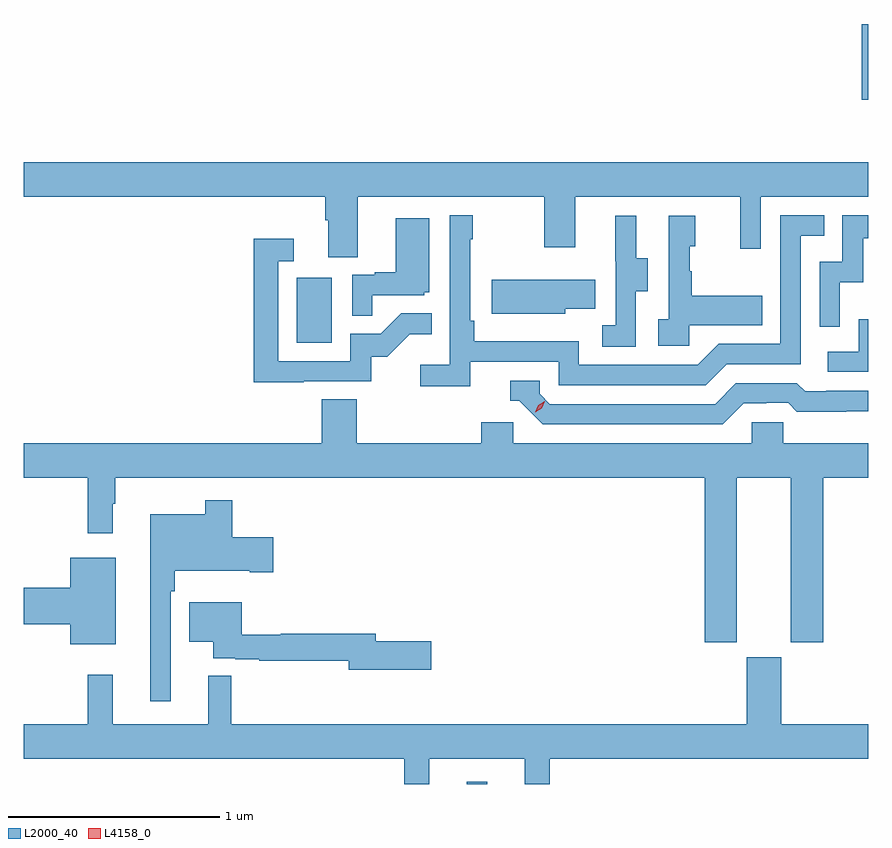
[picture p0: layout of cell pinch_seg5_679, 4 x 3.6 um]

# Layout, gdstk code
import gdstk
lib = gdstk.Library(unit=1e-6, precision=1e-09)
def R(c, l, rs):  # rectangles x0, y0, x1, y1
    for r in rs: c.add(gdstk.rectangle(r[:2], r[2:], *l))
def P(c, l, *ps):  # polygons
    for p in ps: c.add(gdstk.Polygon(p, *l))
L2000_40 = (2000, 40)
L4158_0 = (4158, 0)

pinch_seg5_679 = lib.new_cell('pinch_seg5_679')
R(pinch_seg5_679, L2000_40, [(1129.827,835.329,1129.924,835.339), (1129.022,837.42,1129.186,837.727), (1131.698,838.57,1131.728,838.93)])
P(pinch_seg5_679, L2000_40, [(1129.309,838.112),(1130.194,838.112),(1130.194,837.873),(1130.341,837.873),(1130.341,838.112),(1131.122,838.112),(1131.122,837.864),(1131.219,837.864),(1131.219,838.112),(1131.728,838.112),(1131.728,838.276),(1127.728,838.276),(1127.728,838.112),(1129.157,838.112),(1129.157,838),(1129.169,838),(1129.169,837.826),(1129.309,837.826)],
  [(1129.844,837.33),(1130.262,837.33),(1130.262,837.219),(1130.959,837.219),(1131.058,837.318),(1131.408,837.318),(1131.408,837.927),(1131.521,837.927),(1131.521,838.023),(1131.312,838.023),(1131.312,837.414),(1131.021,837.414),(1130.922,837.315),(1130.358,837.315),(1130.358,837.427),(1129.862,837.427),(1129.862,837.523),(1129.842,837.523),(1129.842,837.911),(1129.855,837.911),(1129.855,838.024),(1129.746,838.024),(1129.746,837.316),(1129.605,837.316),(1129.605,837.214),(1129.844,837.214)],
  [(1131.594,837.707),(1131.704,837.707),(1131.704,837.915),(1131.728,837.915),(1131.728,838.023),(1131.606,838.023),(1131.606,837.804),(1131.498,837.804),(1131.498,837.495),(1131.594,837.495)],
  [(1130.88,837.503),(1131.227,837.503),(1131.227,837.643),(1130.893,837.643),(1130.893,837.758),(1130.883,837.758),(1130.883,837.876),(1130.908,837.876),(1130.908,838.021),(1130.784,838.021),(1130.784,837.53),(1130.733,837.53),(1130.733,837.405),(1130.88,837.405)],
  [(1130.628,837.664),(1130.683,837.664),(1130.683,837.819),(1130.629,837.819),(1130.629,838.021),(1130.531,838.021),(1130.531,837.807),(1130.532,837.807),(1130.532,837.503),(1130.469,837.503),(1130.469,837.4),(1130.628,837.4)],
  [(1129.379,837.645),(1129.626,837.645),(1129.626,837.66),(1129.648,837.66),(1129.648,838.009),(1129.49,838.009),(1129.49,837.754),(1129.391,837.754),(1129.391,837.741),(1129.284,837.741),(1129.284,837.547),(1129.379,837.547)],
  [(1129.055,837.237),(1129.374,837.237),(1129.374,837.354),(1129.45,837.354),(1129.557,837.461),(1129.661,837.461),(1129.661,837.56),(1129.517,837.56),(1129.419,837.462),(1129.275,837.462),(1129.275,837.333),(1128.933,837.333),(1128.933,837.807),(1129.006,837.807),(1129.006,837.913),(1128.817,837.913),(1128.817,837.232),(1129.055,837.232)],
  [(1130.292,837.581),(1130.435,837.581),(1130.435,837.718),(1129.944,837.718),(1129.944,837.557),(1130.292,837.557)],
  [(1131.728,837.532),(1131.684,837.532),(1131.684,837.378),(1131.537,837.378),(1131.537,837.282),(1131.728,837.282)],
  [(1131.139,837.132),(1131.246,837.132),(1131.246,837.135),(1131.349,837.135),(1131.391,837.093),(1131.624,837.093),(1131.624,837.095),(1131.728,837.095),(1131.728,837.192),(1131.529,837.192),(1131.529,837.189),(1131.43,837.189),(1131.391,837.228),(1131.102,837.228),(1131.003,837.129),(1130.22,837.129),(1130.172,837.177),(1130.172,837.24),(1130.033,837.24),(1130.033,837.144),(1130.076,837.144),(1130.187,837.033),(1131.04,837.033)],
  [(1131.106,836.78),(1131.362,836.78),(1131.362,836.001),(1131.515,836.001),(1131.515,836.78),(1131.728,836.78),(1131.728,836.944),(1131.327,836.944),(1131.327,837.042),(1131.177,837.042),(1131.177,836.944),(1130.046,836.944),(1130.046,837.042),(1129.895,837.042),(1129.895,836.944),(1129.304,836.944),(1129.304,837.152),(1129.139,837.152),(1129.139,836.944),(1127.728,836.944),(1127.728,836.78),(1128.031,836.78),(1128.031,836.517),(1128.148,836.517),(1128.148,836.657),(1128.16,836.657),(1128.16,836.78),(1130.954,836.78),(1130.954,836.001),(1131.106,836.001)],
  [(1128.423,836.243),(1128.443,836.243),(1128.443,836.339),(1128.797,836.339),(1128.797,836.332),(1128.91,836.332),(1128.91,836.497),(1128.716,836.497),(1128.716,836.674),(1128.588,836.674),(1128.588,836.608),(1128.326,836.608),(1128.326,835.722),(1128.423,835.722)],
  [(1128.163,836.401),(1127.948,836.401),(1127.948,836.258),(1127.728,836.258),(1127.728,836.086),(1127.948,836.086),(1127.948,835.991),(1128.163,835.991)],
  [(1129.657,836.006),(1129.396,836.006),(1129.396,836.042),(1128.944,836.042),(1128.944,836.035),(1128.761,836.035),(1128.761,836.191),(1128.512,836.191),(1128.512,836.003),(1128.626,836.003),(1128.626,835.926),(1128.73,835.926),(1128.73,835.92),(1128.844,835.92),(1128.844,835.914),(1129.268,835.914),(1129.268,835.871),(1129.657,835.871)],
  [(1129.649,835.448),(1130.102,835.448),(1130.102,835.329),(1130.219,835.329),(1130.219,835.448),(1131.728,835.448),(1131.728,835.612),(1131.316,835.612),(1131.316,835.929),(1131.152,835.929),(1131.152,835.612),(1128.71,835.612),(1128.71,835.841),(1128.602,835.841),(1128.602,835.612),(1128.149,835.612),(1128.149,835.846),(1128.031,835.846),(1128.031,835.612),(1127.728,835.612),(1127.728,835.448),(1129.531,835.448),(1129.531,835.329),(1129.649,835.329)])
P(pinch_seg5_679, L4158_0, [(1130.15,837.09),(1130.15,837.09),(1130.166,837.123),(1130.197,837.142),(1130.197,837.142),(1130.197,837.142),(1130.181,837.109),(1130.15,837.09)])

lib.write_gds('pinch_seg5_679.gds')
